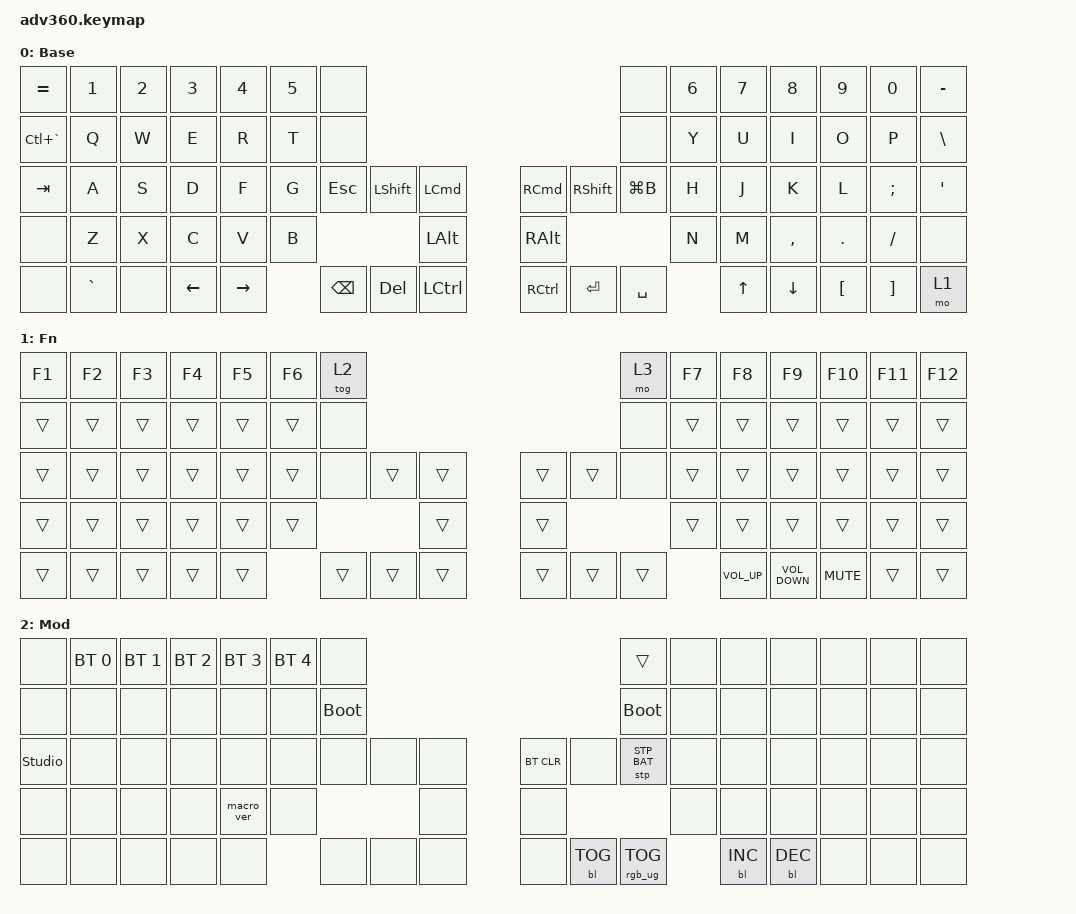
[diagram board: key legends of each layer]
#include <dt-bindings/zmk/stp.h>
#include <behaviors.dtsi>
#include <dt-bindings/zmk/backlight.h>
#include <dt-bindings/zmk/bt.h>
#include <dt-bindings/zmk/keys.h>
#include <dt-bindings/zmk/rgb.h>

/ {
    behaviors {
        #include "macros.dtsi"
      #include "version.dtsi"

        hm: homerow_mods {
            compatible = "zmk,behavior-hold-tap";
            label = "HOMEROW_MODS";
            #binding-cells = <2>;
            tapping-term-ms = <200>;
            quick_tap_ms = <175>;
            flavor = "tap-preferred";
            bindings = <&kp>, <&kp>;
        };
    };

    keymap {
        compatible = "zmk,keymap";

        default_layer {
            display-name = "Base";
            bindings = <
&kp EQUAL      &kp N1     &kp N2  &kp N3    &kp N4     &kp N5  &none                                                                               &none      &kp N6  &kp N7  &kp N8     &kp N9    &kp N0    &kp MINUS
&kp LC(GRAVE)  &kp Q      &kp W   &kp E     &kp R      &kp T   &none                                                                               &none      &kp Y   &kp U   &kp I      &kp O     &kp P     &kp BSLH
&kp TAB        &kp A      &kp S   &kp D     &kp F      &kp G   &kp ESC   &kp LEFT_SHIFT  &kp LEFT_COMMAND      &kp RIGHT_COMMAND  &kp RIGHT_SHIFT  &kp LG(B)  &kp H   &kp J   &kp K      &kp L     &kp SEMI  &kp SQT
&none          &kp Z      &kp X   &kp C     &kp V      &kp B                             &kp LEFT_ALT          &kp RIGHT_ALT                                  &kp N   &kp M   &kp COMMA  &kp DOT   &kp FSLH  &none
&none          &kp GRAVE  &none   &kp LEFT  &kp RIGHT          &kp BSPC  &kp DEL         &kp LEFT_CONTROL      &kp RIGHT_CONTROL  &kp ENTER        &kp SPACE          &kp UP  &kp DOWN   &kp LBKT  &kp RBKT  &mo 1
            >;
        };

        fn {
            display-name = "Fn";
            bindings = <
&kp F1  &kp F2  &kp F3  &kp F4  &kp F5  &kp F6  &tog 2                                      &mo 3   &kp F7  &kp F8           &kp F9             &kp F10     &kp F11  &kp F12
&trans  &trans  &trans  &trans  &trans  &trans  &none                                       &none   &trans  &trans           &trans             &trans      &trans   &trans
&trans  &trans  &trans  &trans  &trans  &trans  &none   &trans  &trans      &trans  &trans  &none   &trans  &trans           &trans             &trans      &trans   &trans
&trans  &trans  &trans  &trans  &trans  &trans                  &trans      &trans                  &trans  &trans           &trans             &trans      &trans   &trans
&trans  &trans  &trans  &trans  &trans          &trans  &trans  &trans      &trans  &trans  &trans          &kp K_VOLUME_UP  &kp K_VOLUME_DOWN  &kp K_MUTE  &trans   &trans
            >;
        };

        mod {
            display-name = "Mod";
            bindings = <
&none           &bt BT_SEL 0  &bt BT_SEL 1  &bt BT_SEL 2  &bt BT_SEL 3  &bt BT_SEL 4  &none                                                  &trans           &none  &none       &none       &none  &none  &none
&none           &none         &none         &none         &none         &none         &bootloader                                            &bootloader      &none  &none       &none       &none  &none  &none
&studio_unlock  &none         &none         &none         &none         &none         &none        &none  &none      &bt BT_CLR  &none       &stp STP_BAT     &none  &none       &none       &none  &none  &none
&none           &none         &none         &none         &macro_ver    &none                             &none      &none                                    &none  &none       &none       &none  &none  &none
&none           &none         &none         &none         &none                       &none        &none  &none      &none       &bl BL_TOG  &rgb_ug RGB_TOG         &bl BL_INC  &bl BL_DEC  &none  &none  &none
            >;
        };

        extra1 {
            display-name = "Red";
            status = "reserved";
        };

        extra2 {
            display-name = "Purple";
            status = "reserved";
        };

        extra3 {
            display-name = "Cyan";
            status = "reserved";
        };

        extra4 {
            display-name = "Yellow";
            status = "reserved";
        };
    };
};
